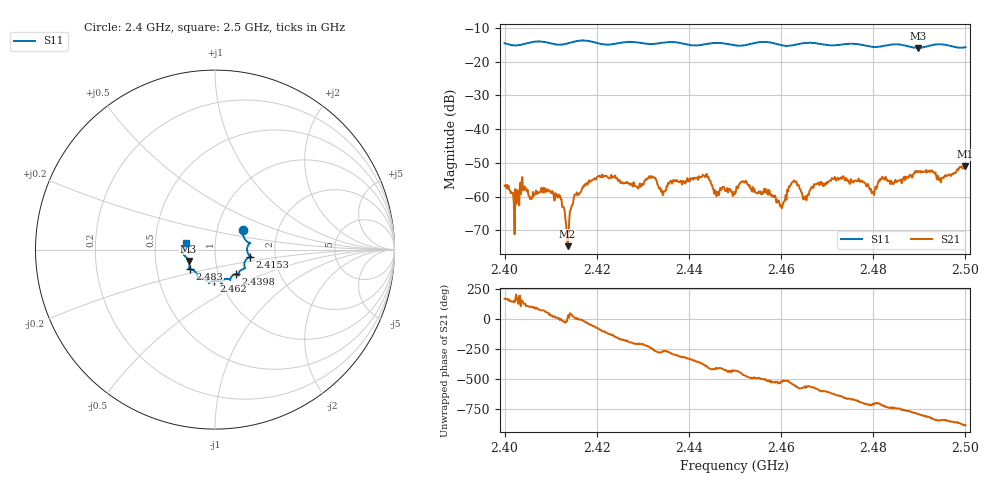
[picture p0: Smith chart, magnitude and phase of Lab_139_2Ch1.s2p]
# Hz S RI R 50
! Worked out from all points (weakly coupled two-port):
!   601 points, 2.4 GHz to 2.5 GHz, reference 50 ohm
!   highest |S21| = -51.02 dB at 2.5 GHz (marker M1); lowest = -74.7 dB at 2.4137 GHz (marker M2)
!   lowest |S11| = -15.9 dB at 2.4897 GHz (marker M3), VSWR 1.38, Z = 36.9 - j4.79 ohm
!   |S11| at or under -10 dB: start of sweep to end of sweep
!   S12 and S22 are empty: the file has one direction only
!   S11 on the Smith chart (normalised r, x): 2.4 GHz: 1.33, +0.29; 2.4153 GHz: 1.48, -0.12; 2.4398 GHz: 1.21, -0.34; 2.462 GHz: 0.93, -0.33; 2.483 GHz: 0.74, -0.17; 2.5 GHz: 0.72, +0.06
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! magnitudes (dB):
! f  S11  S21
! 2.4 GHz  -14.5  -56.8
! 2.4022 GHz  -15.2  -71.2
! 2.4038 GHz  -14.9  -54.2
! 2.4115 GHz  -14.9  -60.3
! 2.4137 GHz  -14.6  -74.7
! 2.4153 GHz  -14.0  -59.4
! 2.4167 GHz  -13.7  -58.3
! 2.4207 GHz  -14.6  -54.2
! 2.4333 GHz  -14.6  -56.7
! 2.4398 GHz  -15.0  -55.5
! 2.45 GHz  -15.1  -59.2
! 2.452 GHz  -15.1  -55.8
! 2.4602 GHz  -15.1  -63.5
! 2.462 GHz  -15.2  -56.7
! 2.4652 GHz  -14.4  -60.8
! 2.4667 GHz  -14.4  -57.1
! 2.4732 GHz  -14.9  -54.8
! 2.4798 GHz  -15.6  -58.9
! 2.483 GHz  -15.1  -55.3
! 2.4833 GHz  -15.0  -55.4
! 2.4897 GHz  -15.9  -52.4
! 2.5 GHz  -15.7  -51.0
